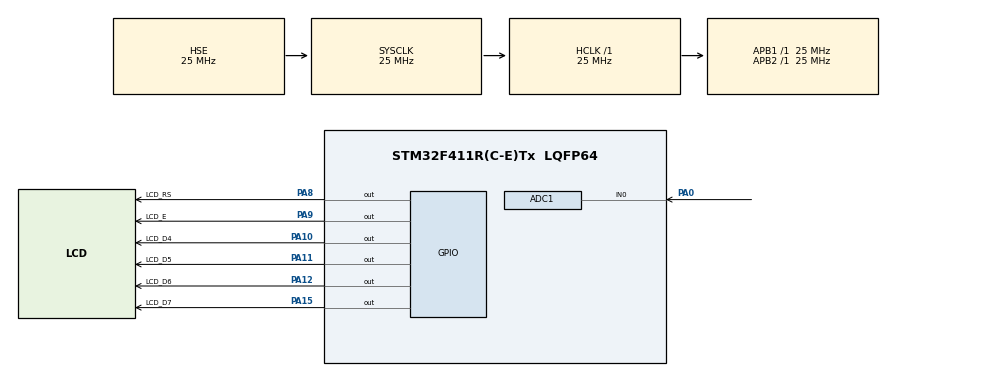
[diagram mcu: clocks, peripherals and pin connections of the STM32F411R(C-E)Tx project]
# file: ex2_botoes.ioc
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ADC1.Channel-0\#ChannelRegularConversion=ADC_CHANNEL_0
ADC1.ContinuousConvMode=ENABLE
ADC1.DMAContinuousRequests=ENABLE
ADC1.EOCSelection=ADC_EOC_SEQ_CONV
ADC1.NbrOfConversionFlag=1
ADC1.Rank-0\#ChannelRegularConversion=1
ADC1.SamplingTime-0\#ChannelRegularConversion=ADC_SAMPLETIME_112CYCLES
ADC1.master=1
Dma.ADC1.0.Direction=DMA_PERIPH_TO_MEMORY
Dma.ADC1.0.FIFOMode=DMA_FIFOMODE_DISABLE
Dma.ADC1.0.Instance=DMA2_Stream0
Dma.ADC1.0.MemDataAlignment=DMA_MDATAALIGN_HALFWORD
Dma.ADC1.0.MemInc=DMA_MINC_ENABLE
Dma.ADC1.0.Mode=DMA_CIRCULAR
Dma.ADC1.0.PeriphDataAlignment=DMA_PDATAALIGN_HALFWORD
Dma.ADC1.0.PeriphInc=DMA_PINC_DISABLE
Dma.ADC1.0.Priority=DMA_PRIORITY_LOW
Dma.Request0=ADC1
Mcu.Family=STM32F4
Mcu.Name=STM32F411R(C-E)Tx
Mcu.Package=LQFP64
NVIC.ADC_IRQn=true\:0\:0\:false\:false\:true\:true\:true\:true
NVIC.DMA2_Stream0_IRQn=true\:0\:0\:false\:false\:true\:false\:true\:true
NVIC.PriorityGroup=NVIC_PRIORITYGROUP_4
PA0-WKUP.Signal=ADCx_IN0
PA10.GPIO_Label=LCD_D4
PA10.GPIO_ModeDefaultOutputPP=GPIO_MODE_OUTPUT_PP
PA10.GPIO_Speed=GPIO_SPEED_FREQ_VERY_HIGH
PA10.PinState=GPIO_PIN_RESET
PA10.Signal=GPIO_Output
PA11.GPIO_Label=LCD_D5
PA11.GPIO_ModeDefaultOutputPP=GPIO_MODE_OUTPUT_PP
PA11.GPIO_Speed=GPIO_SPEED_FREQ_VERY_HIGH
PA11.PinState=GPIO_PIN_RESET
PA11.Signal=GPIO_Output
PA12.GPIO_Label=LCD_D6
PA12.GPIO_ModeDefaultOutputPP=GPIO_MODE_OUTPUT_PP
PA12.GPIO_Speed=GPIO_SPEED_FREQ_VERY_HIGH
PA12.PinState=GPIO_PIN_RESET
PA12.Signal=GPIO_Output
PA13.Mode=Serial_Wire
PA13.Signal=SYS_JTMS-SWDIO
PA14.Mode=Serial_Wire
PA14.Signal=SYS_JTCK-SWCLK
PA15.GPIO_Label=LCD_D7
PA15.GPIO_ModeDefaultOutputPP=GPIO_MODE_OUTPUT_PP
PA15.GPIO_Speed=GPIO_SPEED_FREQ_VERY_HIGH
PA15.PinState=GPIO_PIN_RESET
PA15.Signal=GPIO_Output
PA8.GPIO_Label=LCD_RS
PA8.GPIO_ModeDefaultOutputPP=GPIO_MODE_OUTPUT_PP
PA8.GPIO_Speed=GPIO_SPEED_FREQ_VERY_HIGH
PA8.PinState=GPIO_PIN_RESET
PA8.Signal=GPIO_Output
PA9.GPIO_Label=LCD_E
PA9.GPIO_ModeDefaultOutputPP=GPIO_MODE_OUTPUT_PP
PA9.GPIO_Speed=GPIO_SPEED_FREQ_VERY_HIGH
PA9.PinState=GPIO_PIN_RESET
PA9.Signal=GPIO_Output
PH0\ -\ OSC_IN.Mode=HSE-External-Oscillator
PH0\ -\ OSC_IN.Signal=RCC_OSC_IN
PH1\ -\ OSC_OUT.Mode=HSE-External-Oscillator
PH1\ -\ OSC_OUT.Signal=RCC_OSC_OUT
ProjectManager.HeapSize=0x200
ProjectManager.StackSize=0x400
ProjectManager.TargetToolchain=STM32CubeIDE
RCC.AHBFreq_Value=25000000
RCC.APB1Freq_Value=25000000
RCC.APB1TimFreq_Value=25000000
RCC.APB2Freq_Value=25000000
RCC.APB2TimFreq_Value=25000000
RCC.CortexFreq_Value=25000000
RCC.HCLKFreq_Value=25000000
RCC.HSE_VALUE=25000000
RCC.HSI_VALUE=16000000
RCC.LSE_VALUE=32768
RCC.SYSCLKFreq_VALUE=25000000
RCC.SYSCLKSource=RCC_SYSCLKSOURCE_HSE
RCC.VCOOutputFreq_Value=192000000
SH.ADCx_IN0.0=ADC1_IN0,IN0
board=custom

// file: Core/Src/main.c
/* USER CODE BEGIN Header */
/**
  ******************************************************************************
  * @file           : main.c
  * @brief          : Main program body
  ******************************************************************************
  * @attention
  *
  * Copyright (c) 2025 STMicroelectronics.
  * All rights reserved.
  *
  * This software is licensed under terms that can be found in the LICENSE file
  * in the root directory of this software component.
  * If no LICENSE file comes with this software, it is provided AS-IS.
  *
  ******************************************************************************
  */
/* USER CODE END Header */
#include "main.h"
#include "adc.h"
#include "dma.h"
#include "gpio.h"

/* USER CODE BEGIN Includes */
#include <stdint.h>
#include <stdio.h>
#include "lcdDisplay.h"

/* USER CODE END Includes */

/* USER CODE BEGIN PTD */
typedef enum{
	BTN_RIGHT,
	BTN_UP,
	BTN_DOWN,
	BTN_LEFT,
	BTN_SELECT,
	BTN_NONE
} adc_btn_e;

/* USER CODE END PTD */

/* USER CODE BEGIN PD */
#define VREF_P_VOLTAGE		3.3
#define ADC_RESOLUTION		4095.0
/* USER CODE END PD */

/* USER CODE BEGIN PV */
static lcd_t Lcd;
uint16_t pot1Value[10];
uint8_t adcDmaFlag;

char adc_btn_str[6][10] = {
		"RIGHT",
		"UP",
		"DOWN",
		"LEFT",
		"SELECT",

		"---"
};

float adc_btn_values[6] = {
		0.55,
		0.11,
		0.3,
		0.009,
		1.14,
		3.3
};
/* USER CODE END PV */

void SystemClock_Config(void);

/* USER CODE BEGIN 0 */

void HAL_ADC_ConvCpltCallback(ADC_HandleTypeDef * hadc){
	adcDmaFlag = 1;
}

void _lcd_init(){
	Lcd.columns = 20;
	Lcd.rows = 4;
	Lcd.gpios[LCD_RS].GPIO = (uint32_t)LCD_RS_GPIO_Port;
	Lcd.gpios[LCD_RS].pin = LCD_RS_Pin;
	Lcd.gpios[LCD_E].GPIO = (uint32_t)LCD_E_GPIO_Port;
	Lcd.gpios[LCD_E].pin = LCD_E_Pin;
	Lcd.gpios[LCD_D4].GPIO = (uint32_t)LCD_D4_GPIO_Port;
	Lcd.gpios[LCD_D4].pin = LCD_D4_Pin;
	Lcd.gpios[LCD_D5].GPIO = (uint32_t)LCD_D5_GPIO_Port;
	Lcd.gpios[LCD_D5].pin = LCD_D5_Pin;
	Lcd.gpios[LCD_D6].GPIO = (uint32_t)LCD_D6_GPIO_Port;
	Lcd.gpios[LCD_D6].pin = LCD_D6_Pin;
	Lcd.gpios[LCD_D7].GPIO = (uint32_t)LCD_D7_GPIO_Port;
	Lcd.gpios[LCD_D7].pin = LCD_D7_Pin;

	lcd_init(&Lcd);

	lcd_send_string_pos(&Lcd, "STM32F411 ESSENTIALS", 0, 0);
	lcd_send_string_pos(&Lcd, "ADC - EX1", 1, 0);
}

adc_btn_e _get_adc_btn(float voltage){
	float _range = 0.05;
	float voltUp, voltDown;
	adc_btn_e btnCheck;

	btnCheck = BTN_RIGHT;
	while(btnCheck < BTN_NONE){
		voltUp = adc_btn_values[btnCheck] + _range;
		voltDown = adc_btn_values[btnCheck] - _range;
		if(voltage >= voltDown && voltage <= voltUp){
			return (adc_btn_e)btnCheck;
		}
		btnCheck++;
	}
	return BTN_NONE;
}

uint16_t _calc_adc_avg(uint16_t *adcRaw, uint32_t n){
	uint32_t sum, i;
	i = 0;
	sum = 0;
	while(i < n){
		sum += adcRaw[i];
		i++;
	}
	sum /= n;

	return (uint16_t)sum;
}
/* USER CODE END 0 */

int main(void)
{

  /* USER CODE BEGIN 1 */
	float voltage;
	adc_btn_e btn;
	uint32_t adcRaw;
	char text[21];
  /* USER CODE END 1 */

  /* MCU Configuration--------------------------------------------------------*/

  /* Reset of all peripherals, Initializes the Flash interface and the Systick. */
  HAL_Init();

  /* Configure the system clock */
  SystemClock_Config();

  /* Initialize all configured peripherals */
  MX_GPIO_Init();
  MX_DMA_Init();
  MX_ADC1_Init();
  /* USER CODE BEGIN 2 */
  HAL_Delay(200);
  _lcd_init();
  /* USER CODE END 2 */

  /* Infinite loop */
  /* USER CODE BEGIN WHILE */
  HAL_ADC_Start_DMA(&hadc1, (uint32_t *)pot1Value, 10);
  adcDmaFlag = 0;
  while (1)
  {
	  if(adcDmaFlag == 1){
		  adcRaw = _calc_adc_avg(pot1Value, 10);
		  voltage = VREF_P_VOLTAGE*((float)adcRaw/ADC_RESOLUTION);
		  btn = _get_adc_btn(voltage);
		  sprintf(text, ">> volt: %.4f", voltage);
		  lcd
		  _clear_row(&Lcd, 2);
		  lcd_send_string_pos(&Lcd, text, 2, 0);
		  sprintf(text, ">> Pressed %.3f", adc_btn_values[btn]);
		  lcd_clear_row(&Lcd, 3);
		  lcd_send_string_pos(&Lcd, text, 3, 0);
		  adcDmaFlag = 0;
	  }

    /* USER CODE END WHILE */

  }
}

void SystemClock_Config(void)
{
  RCC_OscInitTypeDef RCC_OscInitStruct = {0};
  RCC_ClkInitTypeDef RCC_ClkInitStruct = {0};

  /** Configure the main internal regulator output voltage
  */
  __HAL_RCC_PWR_CLK_ENABLE();
  __HAL_PWR_VOLTAGESCALING_CONFIG(PWR_REGULATOR_VOLTAGE_SCALE1);

  /** Initializes the RCC Oscillators according to the specified parameters
  * in the RCC_OscInitTypeDef structure.
  */
  RCC_OscInitStruct.OscillatorType = RCC_OSCILLATORTYPE_HSE;
  RCC_OscInitStruct.HSEState = RCC_HSE_ON;
  RCC_OscInitStruct.PLL.PLLState = RCC_PLL_NONE;
  if (HAL_RCC_OscConfig(&RCC_OscInitStruct) != HAL_OK)
  {
    Error_Handler();
  }

  /** Initializes the CPU, AHB and APB buses clocks
  */
  RCC_ClkInitStruct.ClockType = RCC_CLOCKTYPE_HCLK|RCC_CLOCKTYPE_SYSCLK
                              |RCC_CLOCKTYPE_PCLK1|RCC_CLOCKTYPE_PCLK2;
  RCC_ClkInitStruct.SYSCLKSource = RCC_SYSCLKSOURCE_HSE;
  RCC_ClkInitStruct.AHBCLKDivider = RCC_SYSCLK_DIV1;
  RCC_ClkInitStruct.APB1CLKDivider = RCC_HCLK_DIV1;
  RCC_ClkInitStruct.APB2CLKDivider = RCC_HCLK_DIV1;

  if (HAL_RCC_ClockConfig(&RCC_ClkInitStruct, FLASH_LATENCY_0) != HAL_OK)
  {
    Error_Handler();
  }
}

void Error_Handler(void)
{
  __disable_irq();
  while (1)
  {
  }
}
